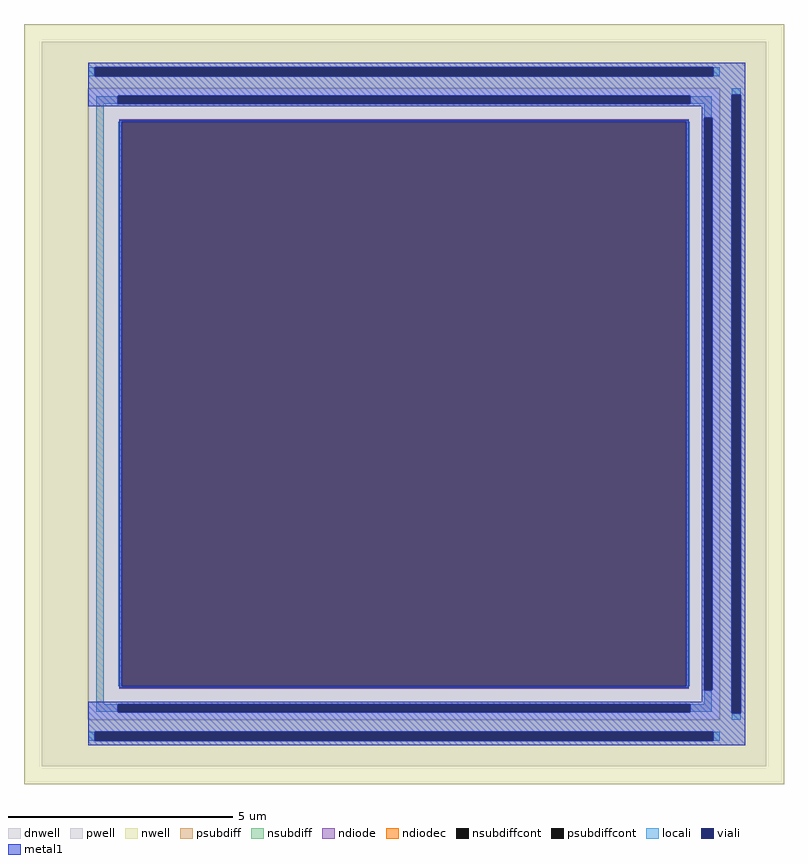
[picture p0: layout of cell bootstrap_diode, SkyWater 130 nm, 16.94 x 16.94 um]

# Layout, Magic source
magic
tech sky130A
<< dnwell >>
rect -103 -103 1511 1511
<< nwell >>
rect -143 1408 1551 1551
rect -143 0 0 1408
rect 1408 0 1551 1408
rect -143 -143 1551 0
<< pwell >>
rect 0 0 1408 1408
<< psubdiff >>
rect 18 1373 66 1390
rect 1342 1373 1390 1390
rect 18 35 35 1373
rect 1373 1342 1390 1373
rect 1373 35 1390 66
rect 18 18 66 35
rect 1342 18 1390 35
<< nsubdiff >>
rect 0 1435 15 1455
rect 1393 1435 1408 1455
rect 1435 1393 1455 1408
rect 1435 0 1455 15
rect 0 -47 15 -27
rect 1393 -47 1408 -27
<< psubdiffcont >>
rect 66 1373 1342 1390
rect 1373 66 1390 1342
rect 66 18 1342 35
<< nsubdiffcont >>
rect 15 1435 1393 1455
rect 1435 15 1455 1393
rect 15 -47 1393 -27
<< ndiode >>
rect 69 1333 1339 1339
rect 69 75 75 1333
rect 1333 75 1339 1333
rect 69 69 1339 75
<< ndiodec >>
rect 75 75 1333 1333
<< locali >>
rect 0 1435 15 1455
rect 1393 1435 1408 1455
rect 1435 1393 1455 1408
rect 18 1373 66 1390
rect 1342 1373 1390 1390
rect 18 35 35 1373
rect 1373 1342 1390 1373
rect 67 75 75 1333
rect 1333 75 1341 1333
rect 1373 35 1390 66
rect 18 18 66 35
rect 1342 18 1390 35
rect 1435 0 1455 15
rect 0 -47 15 -27
rect 1393 -47 1408 -27
<< viali >>
rect 15 1435 1393 1455
rect 66 1390 1342 1391
rect 66 1373 1342 1390
rect 75 75 1333 1333
rect 1373 66 1390 1342
rect 1390 66 1391 1342
rect 66 18 1342 35
rect 66 17 1342 18
rect 1435 15 1455 1393
rect 15 -47 1393 -27
<< metal1 >>
rect 0 1455 1465 1465
rect 0 1435 15 1455
rect 1393 1435 1465 1455
rect 0 1393 1465 1435
rect 0 1391 1435 1393
rect 0 1373 66 1391
rect 1342 1373 1435 1391
rect 0 1368 1435 1373
rect 1368 1342 1435 1368
rect 69 1333 1339 1336
rect 69 75 75 1333
rect 1333 75 1339 1333
rect 69 72 1339 75
rect 1368 66 1373 1342
rect 1391 66 1435 1342
rect 1368 40 1435 66
rect 0 35 1435 40
rect 0 17 66 35
rect 1342 17 1435 35
rect 0 15 1435 17
rect 1455 15 1465 1393
rect 0 -27 1465 15
rect 0 -47 15 -27
rect 1393 -47 1465 -27
rect 0 -57 1465 -47
<< end >>
